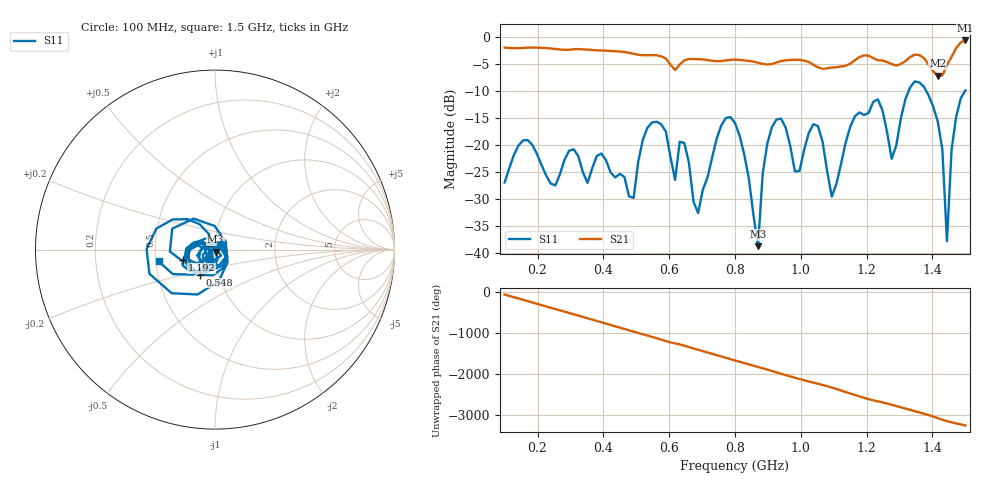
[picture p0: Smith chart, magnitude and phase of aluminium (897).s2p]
! NanoVNA-App
! Date: 2025-09-25 15:02:16
! Start: 100MHz Stop: 1,5GHz Points: 101
! S-Parameter data: F S11 S21 S12 S22
# Hz S RI R 50
!  Frequency  S11_Real  S11_Imag  S21_Real  S21_Imag  S12_Real  S12_Imag  S22_Real  S22_Imag
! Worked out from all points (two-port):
!   101 points, 100 MHz to 1.5 GHz, reference 50 ohm
!   highest |S21| = -0.59 dB at 1.5 GHz (marker M1); lowest = -7.1 dB at 1.416 GHz (marker M2)
!   |S21| within 3 dB of the highest: start of sweep to 578 MHz; 1.458 GHz to end of sweep (the widest 2 of 4)
!   lowest |S11| = -38.8 dB at 870 MHz (marker M3), VSWR 1.02, Z = 50.3 - j1.12 ohm
!   |S11| at or under -10 dB: start of sweep to 1.327 GHz; 1.381 GHz to 1.499 GHz (117.5 MHz wide, 8.16 % of centre)
!   S12 and S22 are empty: the file has one direction only
!   S11 on the Smith chart (normalised r, x): 100 MHz: 1.07, +0.06; 548 MHz: 0.82, -0.23; 1.192 GHz: 0.69, -0.08; 1.5 GHz: 0.52, -0.08
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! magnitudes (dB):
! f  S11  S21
! 100 MHz  -27.0  -1.9
! 156 MHz  -19.1  -2.0
! 338 MHz  -25.1  -2.2
! 492 MHz  -29.8  -3.1
! 548 MHz  -15.8  -3.3
! 576 MHz  -16.2  -3.5
! 646 MHz  -19.6  -4.3
! 688 MHz  -32.6  -4.1
! 800 MHz  -15.9  -4.1
! 870 MHz  -38.8  -4.7
! 912 MHz  -16.7  -5.0
! 982 MHz  -24.9  -4.2
! 1.038 GHz  -16.1  -5.1
! 1.094 GHz  -29.6  -5.6
! 1.192 GHz  -14.4  -3.4
! 1.234 GHz  -11.5  -4.3
! 1.276 GHz  -22.6  -5.0
! 1.346 GHz  -8.2  -3.2
! 1.416 GHz  -15.6  -7.1
! 1.444 GHz  -37.9  -5.2
! 1.458 GHz  -20.9  -3.6
! 1.5 GHz  -9.9  -0.6
